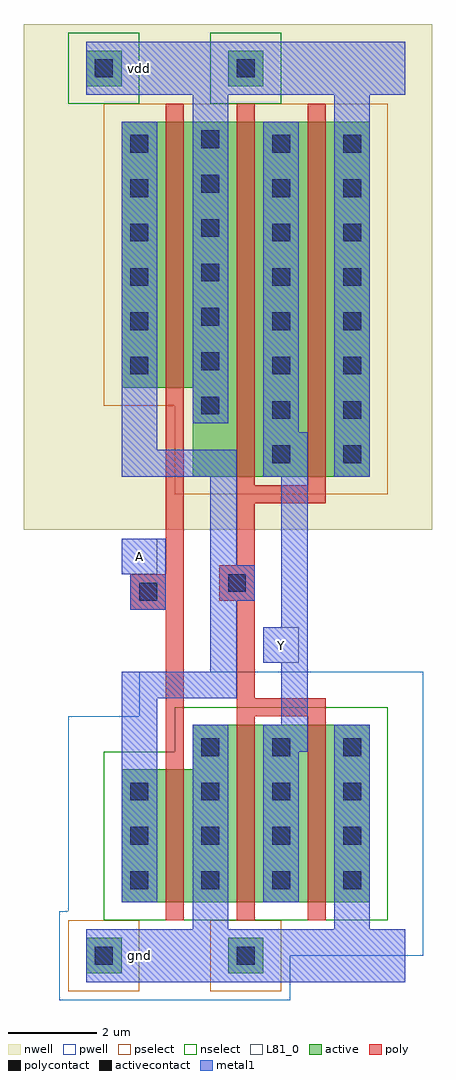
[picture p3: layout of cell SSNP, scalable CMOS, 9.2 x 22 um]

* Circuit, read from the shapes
.subckt SSNP A Y gnd vdd
M1 gnd A n1 gnd nfet w=3u l=0.4u
M2 Y n1 gnd gnd nfet w=4u l=0.4u m=2
M3 vdd A n1 vdd pfet w=6u l=0.4u
M4 Y n1 vdd vdd pfet w=8u l=0.4u m=2
.ends

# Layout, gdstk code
import gdstk
lib = gdstk.Library(unit=1e-6, precision=1e-09)
def R(c, l, rs):  # rectangles x0, y0, x1, y1
    for r in rs: c.add(gdstk.rectangle(r[:2], r[2:], *l))
def A(c, l, x, y, w, h, nx, ny, dx, dy):  # array of equal rectangles
    R(c, l, [(x+i*dx, y+j*dy, x+i*dx+w, y+j*dy+h) for i in range(nx) for j in range(ny)])
pwell = (41, 0)
nwell = (42, 0)
active = (43, 0)
pselect = (44, 0)
nselect = (45, 0)
poly = (46, 0)
polycontact = (47, 0)
activecontact = (48, 0)
metal1 = (49, 0)
L81_0 = (81, 0)

ssnp = lib.new_cell('SSNP')
R(ssnp, pwell, [(-1,-1,4.2,0), (-1,0,7.2,1), (-0.8,1,7.2,5.4), (0.8,5.4,7.2,6.4)])
R(ssnp, nwell, [(-1.8,9.6,7.4,21)])
R(ssnp, active, [(-0.4,-0.4,0.4,0.4), (2.8,-0.4,3.6,0.4), (0.4,1.2,6,4.2), (2,4.2,6,5.2), (2,10.8,6,12.8), (0.4,12.8,6,18.8), (-0.4,19.6,0.4,20.4), (2.8,19.6,3.6,20.4)])
R(ssnp, pselect, [(-0.8,-0.8,0.8,0.8), (2.4,-0.8,4,0.8), (1.6,10.4,6.4,12.4), (0,12.4,6.4,19.2)])
R(ssnp, nselect, [(0,0.8,6.4,4.6), (1.6,4.6,6.4,5.6), (-0.8,19.2,0.8,20.8), (2.4,19.2,4,20.8)])
R(ssnp, poly, [(1.4,0.8,1.8,7.8), (3,0.8,3.4,5.4), (4.6,0.8,5,5.4), (3,5.4,5,5.8), (3,5.8,3.4,8), (0.6,7.8,1.8,8.6), (2.6,8,3.4,8.8), (1.4,8.6,1.8,19.2), (3,8.8,3.4,10.2), (3,10.2,5,10.6), (3,10.6,3.4,19.2), (4.6,10.6,5,19.2)])
R(ssnp, polycontact, [(0.8,8,1.2,8.4), (2.8,8.2,3.2,8.6)])
A(ssnp, activecontact, 0.6, 1.5, 0.4, 0.4, 4, 3, 1.6, 1)
A(ssnp, activecontact, 2.2, 4.5, 0.4, 0.4, 3, 1, 1.6, 0)
A(ssnp, activecontact, 3.8, 11.1, 0.4, 0.4, 1, 8, 0, 1)
A(ssnp, activecontact, 5.4, 11.1, 0.4, 0.4, 1, 8, 0, 1)
A(ssnp, activecontact, 2.2, 12.2, 0.4, 0.4, 1, 7, 0, 1)
A(ssnp, activecontact, 0.6, 13.1, 0.4, 0.4, 1, 6, 0, 1)
R(ssnp, activecontact, [(-0.2,-0.2,0.2,0.2), (3,-0.2,3.4,0.2), (-0.2,19.8,0.2,20.2), (3,19.8,3.4,20.2)])
R(ssnp, metal1, [(-0.4,-0.6,6.8,0.6), (2,0.6,2.8,5.2), (5.2,0.6,6,5.2), (0.4,1.2,1.2,5.8), (3.6,1.2,4.4,4.6), (3.6,4.6,4.6,5.2), (4,5.2,4.6,6.6), (0.4,5.8,3,6.4), (2.4,6.4,3,8), (3.6,6.6,4.6,7.4), (4,7.4,4.6,10.8), (0.6,7.8,1.4,8.6), (2.4,8,3.4,8.8), (0.4,8.6,1.4,9.4), (2.4,8.8,3,10.8), (0.4,10.8,3,11.4), (3.6,10.8,4.6,11.8), (5.2,10.8,6,19.4), (0.4,11.4,1.2,18.8), (3.6,11.8,4.4,18.8), (2,12,2.8,19.4), (-0.4,19.4,6.8,20.6)])
R(ssnp, L81_0, [(3.6,6.6,4.4,7.4), (0.4,8.6,1.2,9.4)])
ssnp.add(gdstk.Label('vdd', (0.8,20), layer=49, texttype=0))
ssnp.add(gdstk.Label('gnd', (0.8,0), layer=49, texttype=0))
ssnp.add(gdstk.Label('A', (0.8,9), layer=49, texttype=0))
ssnp.add(gdstk.Label('Y', (4,7), layer=49, texttype=0))

lib.write_gds('SSNP.gds')
